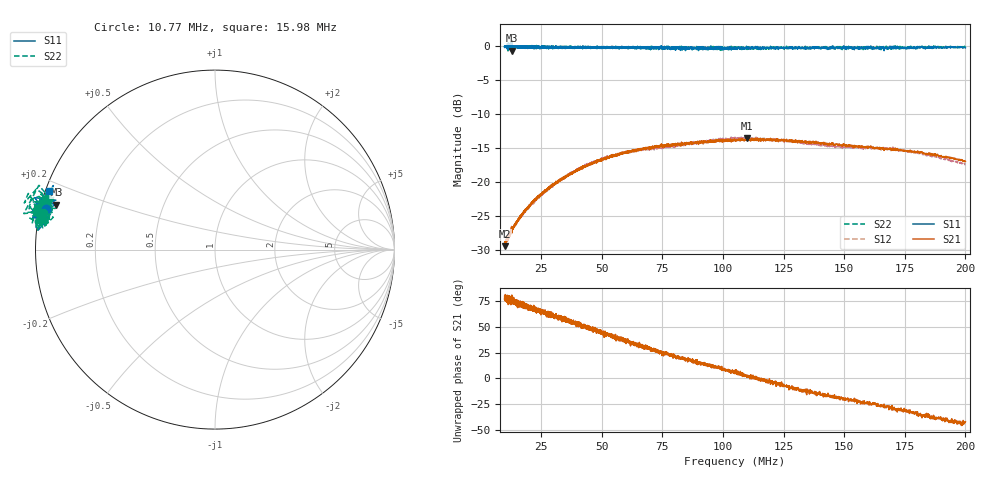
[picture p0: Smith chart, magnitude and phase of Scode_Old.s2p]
#  HZ  S  DB  R  50.0
! Rohde & Schwarz ZVL
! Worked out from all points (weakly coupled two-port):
!   4000 points, 10 MHz to 200 MHz, reference 50 ohm
!   highest |S21| = -13.52 dB at 109.8 MHz (marker M1); lowest = -29.4 dB at 10.06 MHz (marker M2)
!   lowest |S11| = -0.7 dB at 12.9 MHz (marker M3), VSWR 23.50, Z = 2.17 + j6.96 ohm
!   |S11| at or under -10 dB: nowhere
!   |S22| runs from -0.7 to 0.8 dB; largest |S21 - S12| = 0.019
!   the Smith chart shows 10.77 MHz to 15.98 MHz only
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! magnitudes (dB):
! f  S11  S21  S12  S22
! 10 MHz  -0.2  -29.0  -29.2  -0.1
! 10.06 MHz  -0.1  -29.4  -29.0  0.0
! 12.25 MHz  -0.2  -27.5  -27.3  0.0
! 12.9 MHz  -0.7  -26.6  -26.5  0.4
! 13.67 MHz  -0.1  -26.6  -26.7  -0.1
! 18.06 MHz  -0.1  -24.4  -24.4  -0.2
! 23.68 MHz  -0.2  -22.2  -22.3  -0.2
! 31.23 MHz  -0.1  -20.0  -20.1  -0.2
! 36.82 MHz  -0.1  -18.7  -18.9  -0.3
! 41.7 MHz  -0.3  -18.0  -17.8  -0.2
! 50.21 MHz  -0.4  -16.9  -16.5  -0.2
! 58.63 MHz  -0.2  -15.7  -15.8  -0.3
! 73.35 MHz  -0.2  -14.7  -14.9  -0.3
! 91.63 MHz  -0.4  -14.2  -14.1  -0.4
! 105 MHz  -0.5  -14.0  -13.4  -0.1
! 109.8 MHz  -0.1  -13.5  -13.7  -0.4
! 124.4 MHz  -0.3  -13.8  -13.9  -0.3
! 136.7 MHz  -0.4  -14.2  -14.3  -0.2
! 147.9 MHz  -0.3  -14.5  -14.8  -0.3
! 168.3 MHz  -0.3  -15.1  -15.1  -0.2
! 180.6 MHz  -0.2  -15.6  -15.7  -0.2
! 200 MHz  -0.3  -16.9  -17.4  -0.3
